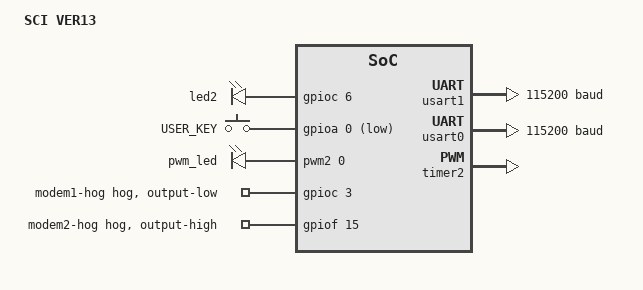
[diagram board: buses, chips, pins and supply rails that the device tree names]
/*
 * Copyright (c) 2022, TOKITA Hiroshi <tokita.hiroshi@gmail.com>
 * SPDX-License-Identifier: Apache-2.0
 */

/dts-v1/;

#include <gd/gd32f30x/gd32f303zkt6.dtsi>
#include "sci_ver13-pinctrl.dtsi"
#include <zephyr/dt-bindings/input/input-event-codes.h>

/ {
	model = "SCI VER13";
	compatible = "gd,sci-ver13";

	chosen {
		zephyr,sram = &sram0;
		zephyr,flash = &flash0;
		zephyr,console = &usart0;
		zephyr,shell-uart = &usart0;
	};

	leds {
		compatible = "gpio-leds";
		led2: led2 {
			gpios = <&gpioc 6 GPIO_ACTIVE_HIGH>;
		};
	};

	gpio_keys {
		compatible = "gpio-keys";
		user_key: user_key {
			label = "USER_KEY";
			gpios = <&gpioa 0 GPIO_ACTIVE_LOW>;
			zephyr,code = <INPUT_KEY_0>;
		};
	};

	pwmleds {
		compatible = "pwm-leds";

		pwm_led: pwm_led {
			pwms = <&pwm2 0 PWM_MSEC(20) PWM_POLARITY_NORMAL>;
		};
	};

	aliases {
		led0 = &led2;
		sw0 = &user_key;
		pwm-led0 = &pwm_led;
        //modem = &modem;
	};
};

&usart1 {
        pinctrl-0 = <&usart1_default>;
        pinctrl-names = "default";
        current-speed = <115200>;
        //hw-flow-control;
        status = "okay";

        /*
        modem: modem {
                compatible = "quectel,bg9x";
                mdm-power-gpios = <&gpioc 4 GPIO_ACTIVE_LOW>;
                //mdm-reset-gpios = <&gpioc 3 GPIO_ACTIVE_HIGH>;
                status = "disabled";
        };
		*/
};

&gpioa {
	status = "okay";
};

&gpioc {
	modem1-hog {
        gpio-hog;
        gpios = <3 GPIO_ACTIVE_HIGH>;
        output-low;
	};
	status = "okay";
};

&gpiof {
	modem2-hog {
        gpio-hog;
        gpios = <15 GPIO_ACTIVE_HIGH>;
        output-high;
	};
	status = "okay";
};

&usart0 {
	status = "okay";
	current-speed = <115200>;
	pinctrl-0 = <&usart0_default>;
	pinctrl-names = "default";
};

&timer2 {
	status = "okay";
	prescaler = <256>;

	pwm2: pwm {
		status = "okay";
		pinctrl-0 = <&pwm2_default>;
		pinctrl-names = "default";
	};
};
